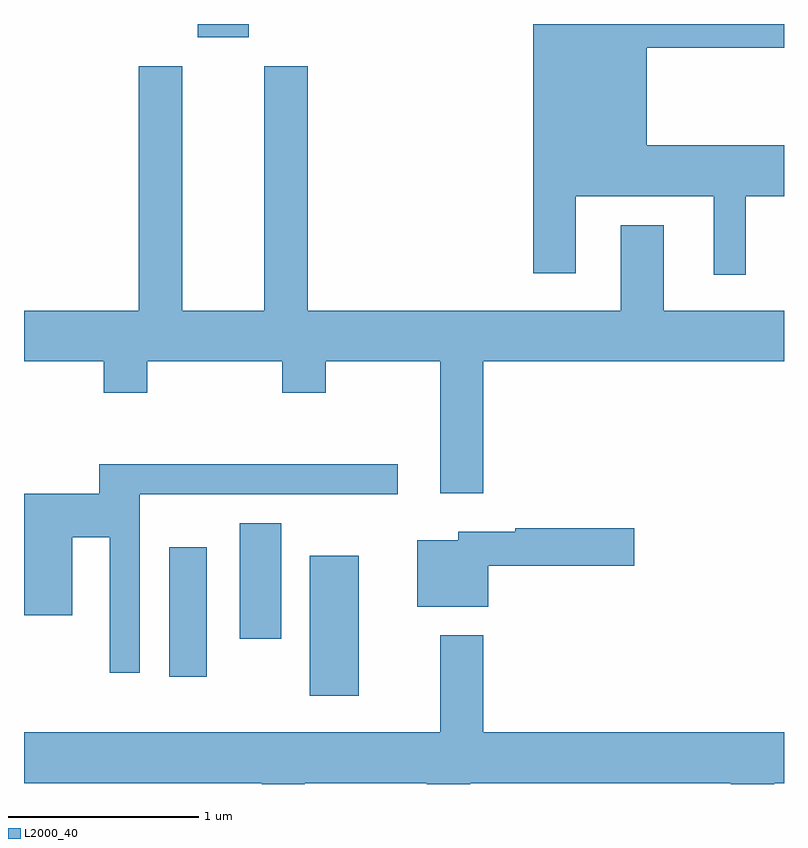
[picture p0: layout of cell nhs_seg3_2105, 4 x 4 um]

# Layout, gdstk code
import gdstk
lib = gdstk.Library(unit=1e-6, precision=1e-09)
def R(c, l, rs):  # rectangles x0, y0, x1, y1
    for r in rs: c.add(gdstk.rectangle(r[:2], r[2:], *l))
def P(c, l, *ps):  # polygons
    for p in ps: c.add(gdstk.Polygon(p, *l))
L2000_40 = (2000, 40)

nhs_seg3_2105 = lib.new_cell('nhs_seg3_2105')
R(nhs_seg3_2105, L2000_40, [(247.116,1246.356,247.374,1247.094), (246.376,1246.456,246.574,1247.139), (246.746,1246.656,246.964,1247.264), (246.526,1249.821,246.794,1249.892)])
P(nhs_seg3_2105, L2000_40, [(249.409,1248.986),(249.611,1248.986),(249.611,1249.254),(248.889,1249.254),(248.889,1249.766),(249.611,1249.766),(249.611,1249.892),(248.291,1249.892),(248.291,1248.581),(248.514,1248.581),(248.514,1248.986),(249.241,1248.986),(249.241,1248.573),(249.409,1248.573)],
  [(248.029,1248.116),(249.611,1248.116),(249.611,1248.384),(248.979,1248.384),(248.979,1248.834),(248.751,1248.834),(248.751,1248.384),(247.104,1248.384),(247.104,1249.669),(246.876,1249.669),(246.876,1248.384),(246.444,1248.384),(246.444,1249.669),(246.216,1249.669),(246.216,1248.384),(245.611,1248.384),(245.611,1248.116),(246.031,1248.116),(246.031,1247.951),(246.259,1247.951),(246.259,1248.116),(246.971,1248.116),(246.971,1247.951),(247.199,1247.951),(247.199,1248.116),(247.801,1248.116),(247.801,1247.421),(248.029,1247.421)],
  [(246.219,1247.416),(247.578,1247.416),(247.578,1247.574),(246.006,1247.574),(246.006,1247.419),(245.611,1247.419),(245.611,1246.781),(245.864,1246.781),(245.864,1247.191),(246.061,1247.191),(246.061,1246.478),(246.219,1246.478)],
  [(248.054,1247.041),(248.824,1247.041),(248.824,1247.239),(248.196,1247.239),(248.196,1247.219),(247.896,1247.219),(247.896,1247.174),(247.681,1247.174),(247.681,1246.826),(248.054,1246.826)],
  [(247.089,1245.896),(247.731,1245.896),(247.731,1245.892),(247.959,1245.892),(247.959,1245.896),(249.331,1245.896),(249.331,1245.892),(249.559,1245.892),(249.559,1245.896),(249.611,1245.896),(249.611,1246.164),(248.029,1246.164),(248.029,1246.674),(247.801,1246.674),(247.801,1246.164),(245.611,1246.164),(245.611,1245.896),(246.861,1245.896),(246.861,1245.892),(247.089,1245.892)])

lib.write_gds('nhs_seg3_2105.gds')
